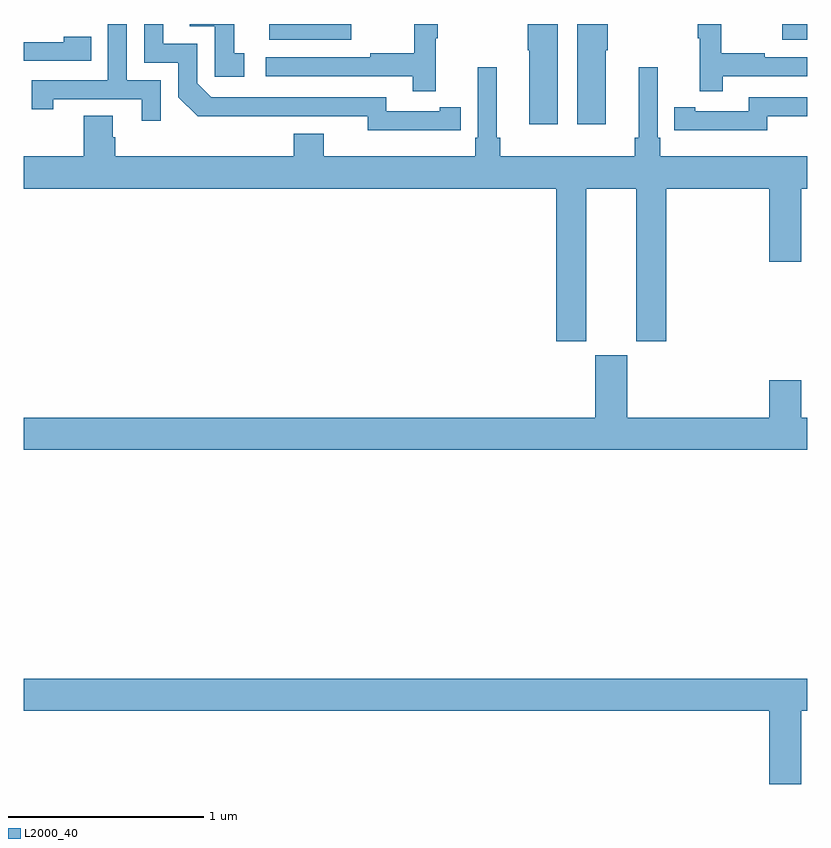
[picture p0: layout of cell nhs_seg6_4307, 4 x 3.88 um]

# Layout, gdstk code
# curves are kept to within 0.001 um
import gdstk
lib = gdstk.Library(unit=1e-6, precision=1e-09)
def R(c, l, rs):  # rectangles x0, y0, x1, y1
    for r in rs: c.add(gdstk.rectangle(r[:2], r[2:], *l))
def P(c, l, *ps):  # polygons
    for p in ps: c.add(gdstk.Polygon(p, *l))
L2000_40 = (2000, 40)

nhs_seg6_4307 = lib.new_cell('nhs_seg6_4307')
R(nhs_seg6_4307, L2000_40, [(366.254,957.419,366.673,957.5), (368.871,957.419,369,957.5)])
P(nhs_seg6_4307, L2000_40, [(367.124,956.958),(367.232,956.958),(367.232,957.074),(367.124,957.074),(367.124,957.054),(366.852,957.054),(366.852,957.126),(365.958,957.126),(365.886,957.198),(365.886,957.399),(365.713,957.399),(365.713,957.5),(365.616,957.5),(365.616,957.303),(365.79,957.303),(365.79,957.126),(365.888,957.029),(366.756,957.03),(366.756,956.957)],
  [(368.567,957.234),(369,957.234),(369,957.33),(368.783,957.33),(368.783,957.35),(368.56,957.35),(368.56,957.5),(368.439,957.5),(368.439,957.427),(368.45,957.427),(368.45,957.156),(368.567,957.156)],
  [(366.127,957.351),(366.074,957.351),(366.074,957.5),(365.847,957.5),(365.847,957.489),(365.976,957.489),(365.976,957.231),(366.127,957.231)],
  [(367.726,957.5),(367.573,957.5),(367.573,957.367),(367.58,957.367),(367.58,956.988),(367.726,956.988)],
  [(367.103,957.427),(367.114,957.427),(367.114,957.5),(366.993,957.5),(366.993,957.35),(366.769,957.35),(366.769,957.33),(366.237,957.33),(366.237,957.234),(366.985,957.234),(366.985,957.156),(367.103,957.156)],
  [(365.7,957.213),(365.526,957.213),(365.526,957.5),(365.43,957.5),(365.43,957.213),(365.041,957.213),(365.041,957.066),(365.152,957.066),(365.152,957.117),(365.603,957.117),(365.603,957.006),(365.7,957.006)],
  [(365.114,957.5),(365,957.5),(365,957.498),(365.112,957.498)],
  [(367.972,957.367),(367.98,957.367),(367.98,957.5),(367.826,957.5),(367.826,956.988),(367.972,956.988)],
  [(365.345,957.435),(365.205,957.435),(365.205,957.408),(365,957.408),(365,957.312),(365.345,957.312)],
  [(367.87,956.66),(368.126,956.66),(368.126,955.881),(368.279,955.881),(368.279,956.66),(368.804,956.66),(368.804,956.286),(368.968,956.286),(368.968,956.66),(369,956.66),(369,956.824),(368.249,956.824),(368.249,956.92),(368.235,956.92),(368.235,957.28),(368.138,957.28),(368.138,956.92),(368.119,956.92),(368.119,956.824),(367.433,956.824),(367.433,956.92),(367.414,956.92),(367.414,957.28),(367.317,957.28),(367.317,956.92),(367.304,956.92),(367.304,956.824),(366.532,956.824),(366.532,956.941),(366.38,956.941),(366.38,956.824),(365.468,956.824),(365.468,956.922),(365.455,956.922),(365.455,957.032),(365.308,957.032),(365.308,956.824),(365,956.824),(365,956.66),(367.718,956.66),(367.718,955.881),(367.87,955.881)],
  [(368.796,957.03),(369,957.03),(369,957.126),(368.7,957.126),(368.7,957.054),(368.428,957.054),(368.428,957.074),(368.32,957.074),(368.32,956.958),(368.428,956.958),(368.428,956.957),(368.796,956.957)],
  [(369,955.492),(368.968,955.492),(368.968,955.681),(368.804,955.681),(368.804,955.492),(368.08,955.492),(368.08,955.809),(367.916,955.809),(367.916,955.492),(365,955.492),(365,955.328),(369,955.328)],
  [(368.968,953.996),(369,953.996),(369,954.16),(365,954.16),(365,953.996),(368.804,953.996),(368.804,953.622),(368.968,953.622)])

lib.write_gds('nhs_seg6_4307.gds')
